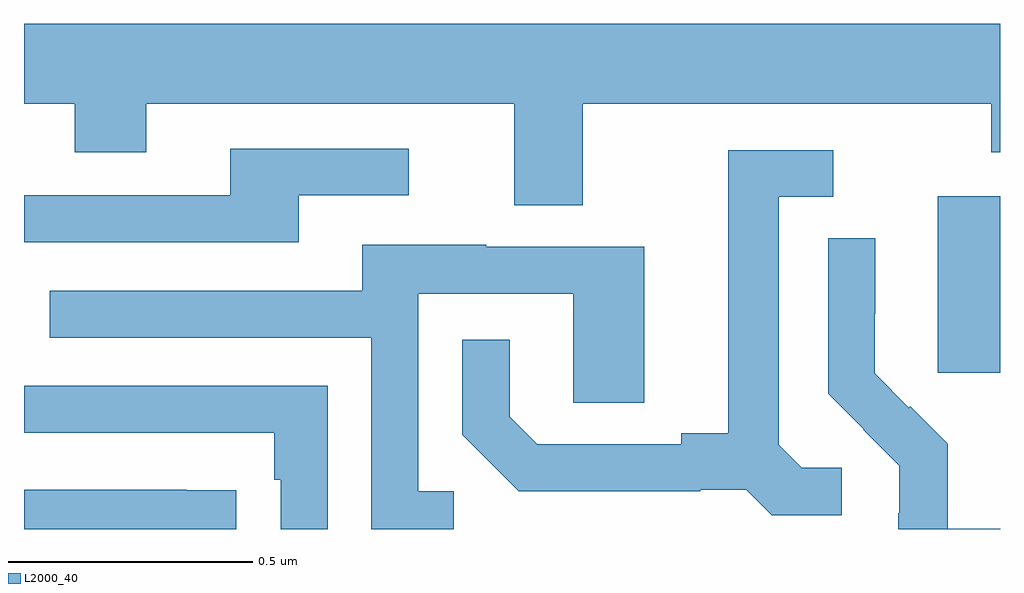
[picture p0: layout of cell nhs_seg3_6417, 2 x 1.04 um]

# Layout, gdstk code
import gdstk
lib = gdstk.Library(unit=1e-6, precision=1e-09)
def R(c, l, rs):  # rectangles x0, y0, x1, y1
    for r in rs: c.add(gdstk.rectangle(r[:2], r[2:], *l))
def P(c, l, *ps):  # polygons
    for p in ps: c.add(gdstk.Polygon(p, *l))
L2000_40 = (2000, 40)

nhs_seg3_6417 = lib.new_cell('nhs_seg3_6417')
R(nhs_seg3_6417, L2000_40, [(192.872,677.721,193,678.082)])
P(nhs_seg3_6417, L2000_40, [(192.145,678.272),(192.982,678.272),(192.982,678.173),(193,678.173),(193,678.436),(191,678.436),(191,678.272),(191.104,678.272),(191.104,678.173),(191.251,678.173),(191.251,678.272),(192.005,678.272),(192.005,678.064),(192.145,678.064)],
  [(191.563,678.084),(191.788,678.084),(191.788,678.18),(191.423,678.18),(191.423,678.084),(191,678.084),(191,677.988),(191.563,677.988)],
  [(192.676,677.526),(192.594,677.526),(192.547,677.573),(192.547,678.081),(192.658,678.081),(192.658,678.177),(192.443,678.177),(192.443,677.597),(192.347,677.597),(192.347,677.574),(192.052,677.574),(191.995,677.631),(191.995,677.788),(191.898,677.788),(191.898,677.594),(192.014,677.478),(192.386,677.478),(192.386,677.481),(192.48,677.481),(192.532,677.429),(192.676,677.429)],
  [(193,677.401),(192.893,677.401),(192.893,677.575),(192.816,677.652),(192.813,677.649),(192.743,677.72),(192.743,677.842),(192.744,677.842),(192.744,677.996),(192.648,677.996),(192.648,677.678),(192.721,677.605),(192.72,677.604),(192.794,677.53),(192.794,677.433),(192.792,677.433),(192.792,677.4),(193,677.4)],
  [(191.881,677.478),(191.808,677.478),(191.808,677.883),(192.126,677.883),(192.126,677.659),(192.271,677.659),(192.271,677.979),(191.947,677.979),(191.947,677.983),(191.693,677.983),(191.693,677.889),(191.053,677.889),(191.053,677.793),(191.712,677.793),(191.712,677.4),(191.881,677.4)],
  [(191.622,677.694),(191,677.694),(191,677.598),(191.513,677.598),(191.513,677.501),(191.526,677.501),(191.526,677.4),(191.622,677.4)],
  [(191.435,677.48),(191.333,677.48),(191.333,677.481),(191,677.481),(191,677.4),(191.435,677.4)])

lib.write_gds('nhs_seg3_6417.gds')
